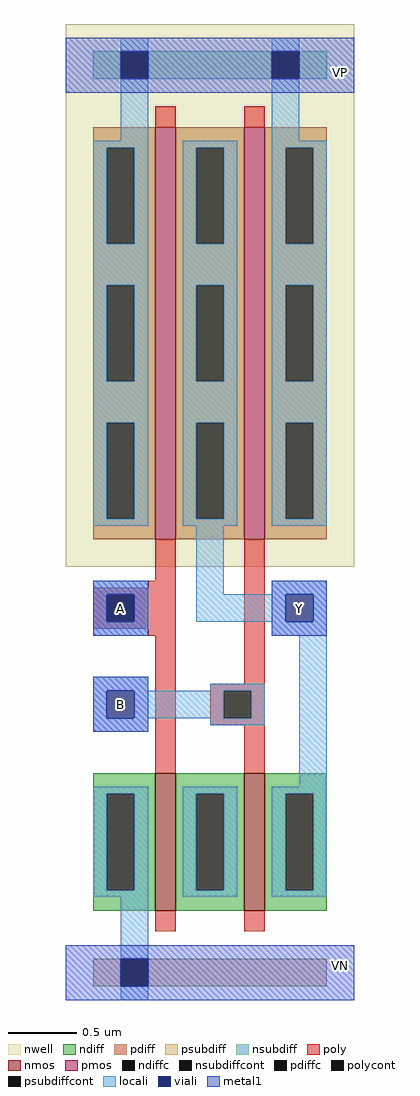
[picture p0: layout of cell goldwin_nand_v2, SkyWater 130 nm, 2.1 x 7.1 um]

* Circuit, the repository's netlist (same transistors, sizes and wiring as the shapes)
** sch_path: /foss/designs/APIC-2025/APIC-UTS/schematic/goldwin_nand_v2/goldwin_nand_v2.sch
.subckt goldwin_nand_v2 A B Y VP VN
*.PININFO A:I B:I VP:I VN:I Y:O
XM1 Y A VP VP sky130_fd_pr__pfet_01v8 L=0.15 W=3 nf=1 m=1
XM2 Y B VP VP sky130_fd_pr__pfet_01v8 L=0.15 W=3 nf=1 m=1
XM3 Y B net1 VN sky130_fd_pr__nfet_01v8 L=0.15 W=1 nf=1 m=1
XM4 net1 A VN VN sky130_fd_pr__nfet_01v8 L=0.15 W=1 nf=1 m=1
.ends
.end

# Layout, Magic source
magic
tech sky130A
<< nwell >>
rect -65 250 145 645
<< nmos >>
rect 0 0 15 100
rect 65 0 80 100
<< pmos >>
rect 0 270 15 570
rect 65 270 80 570
<< ndiff >>
rect -45 85 0 100
rect -45 15 -35 85
rect -15 15 0 85
rect -45 0 0 15
rect 15 85 65 100
rect 15 15 30 85
rect 50 15 65 85
rect 15 0 65 15
rect 80 85 125 100
rect 80 15 95 85
rect 115 15 125 85
rect 80 0 125 15
<< pdiff >>
rect -45 555 0 570
rect -45 485 -35 555
rect -15 485 0 555
rect -45 455 0 485
rect -45 385 -35 455
rect -15 385 0 455
rect -45 355 0 385
rect -45 285 -35 355
rect -15 285 0 355
rect -45 270 0 285
rect 15 555 65 570
rect 15 485 30 555
rect 50 485 65 555
rect 15 455 65 485
rect 15 385 30 455
rect 50 385 65 455
rect 15 355 65 385
rect 15 285 30 355
rect 50 285 65 355
rect 15 270 65 285
rect 80 555 125 570
rect 80 485 95 555
rect 115 485 125 555
rect 80 455 125 485
rect 80 385 95 455
rect 115 385 125 455
rect 80 355 125 385
rect 80 285 95 355
rect 115 285 125 355
rect 80 270 125 285
<< ndiffc >>
rect -35 15 -15 85
rect 30 15 50 85
rect 95 15 115 85
<< pdiffc >>
rect -35 485 -15 555
rect -35 385 -15 455
rect -35 285 -15 355
rect 30 485 50 555
rect 30 385 50 455
rect 30 285 50 355
rect 95 485 115 555
rect 95 385 115 455
rect 95 285 115 355
<< psubdiff >>
rect -45 -55 -25 -35
rect -5 -55 125 -35
<< nsubdiff >>
rect -45 605 -25 625
rect -5 605 85 625
rect 105 605 125 625
<< psubdiffcont >>
rect -25 -55 -5 -35
<< nsubdiffcont >>
rect -25 605 -5 625
rect 85 605 105 625
<< poly >>
rect 0 570 15 585
rect 65 570 80 585
rect 0 240 15 270
rect -5 235 15 240
rect -45 230 15 235
rect -45 210 -35 230
rect -15 210 15 230
rect -45 205 15 210
rect -5 200 15 205
rect 0 100 15 200
rect 65 165 80 270
rect 40 160 80 165
rect 40 140 50 160
rect 70 140 80 160
rect 40 135 80 140
rect 65 100 80 135
rect 0 -15 15 0
rect 65 -15 80 0
<< polycont >>
rect -35 210 -15 230
rect 50 140 70 160
<< locali >>
rect -25 625 -5 635
rect -25 560 -5 605
rect 85 625 105 635
rect 85 560 105 605
rect -45 555 -5 560
rect -45 485 -35 555
rect -15 485 -5 555
rect -45 455 -5 485
rect -45 385 -35 455
rect -15 385 -5 455
rect -45 355 -5 385
rect -45 285 -35 355
rect -15 285 -5 355
rect -45 280 -5 285
rect 20 555 60 560
rect 20 485 30 555
rect 50 485 60 555
rect 20 455 60 485
rect 20 385 30 455
rect 50 385 60 455
rect 20 355 60 385
rect 20 285 30 355
rect 50 285 60 355
rect 20 280 60 285
rect 85 555 125 560
rect 85 485 95 555
rect 115 485 125 555
rect 85 455 125 485
rect 85 385 95 455
rect 115 385 125 455
rect 85 355 125 385
rect 85 285 95 355
rect 115 285 125 355
rect 85 280 125 285
rect -45 230 -5 240
rect -45 210 -35 230
rect -15 210 -5 230
rect 30 230 50 280
rect 85 230 125 240
rect 30 210 95 230
rect 115 210 125 230
rect -45 200 -5 210
rect 85 200 125 210
rect -45 160 -5 170
rect 40 160 80 165
rect -45 140 -35 160
rect -15 140 50 160
rect 70 140 80 160
rect -45 130 -5 140
rect 40 135 80 140
rect 105 90 125 200
rect -45 85 -5 90
rect -45 15 -35 85
rect -15 15 -5 85
rect -45 10 -5 15
rect 20 85 60 90
rect 20 15 30 85
rect 50 15 60 85
rect 20 10 60 15
rect 85 85 125 90
rect 85 15 95 85
rect 115 15 125 85
rect 85 10 125 15
rect -25 -35 -5 10
rect -25 -65 -5 -55
<< viali >>
rect -25 605 -5 625
rect 85 605 105 625
rect -35 210 -15 230
rect 95 210 115 230
rect -35 140 -15 160
rect -25 -55 -5 -35
<< metal1 >>
rect -65 625 145 635
rect -65 605 -25 625
rect -5 605 85 625
rect 105 605 145 625
rect -65 595 145 605
rect -45 230 -5 240
rect -45 210 -35 230
rect -15 210 -5 230
rect -45 200 -5 210
rect 85 230 125 240
rect 85 210 95 230
rect 115 210 125 230
rect 85 200 125 210
rect -45 160 -5 170
rect -45 140 -35 160
rect -15 140 -5 160
rect -45 130 -5 140
rect -65 -35 145 -25
rect -65 -55 -25 -35
rect -5 -55 145 -35
rect -65 -65 145 -55
<< labels >>
flabel metal1 125 595 145 625 1 FreeSans 200 0 0 -120 VP
port 4 n
flabel metal1 125 -55 145 -25 1 FreeSans 200 0 0 -120 VN
port 5 n
flabel metal1 85 200 125 240 1 FreeSans 200 0 0 -120 Y
port 3 n
flabel metal1 -45 200 -5 240 1 FreeSans 200 0 0 -120 A
port 1 n
flabel metal1 -45 130 -5 170 1 FreeSans 200 0 0 -120 B
port 2 n
<< end >>
